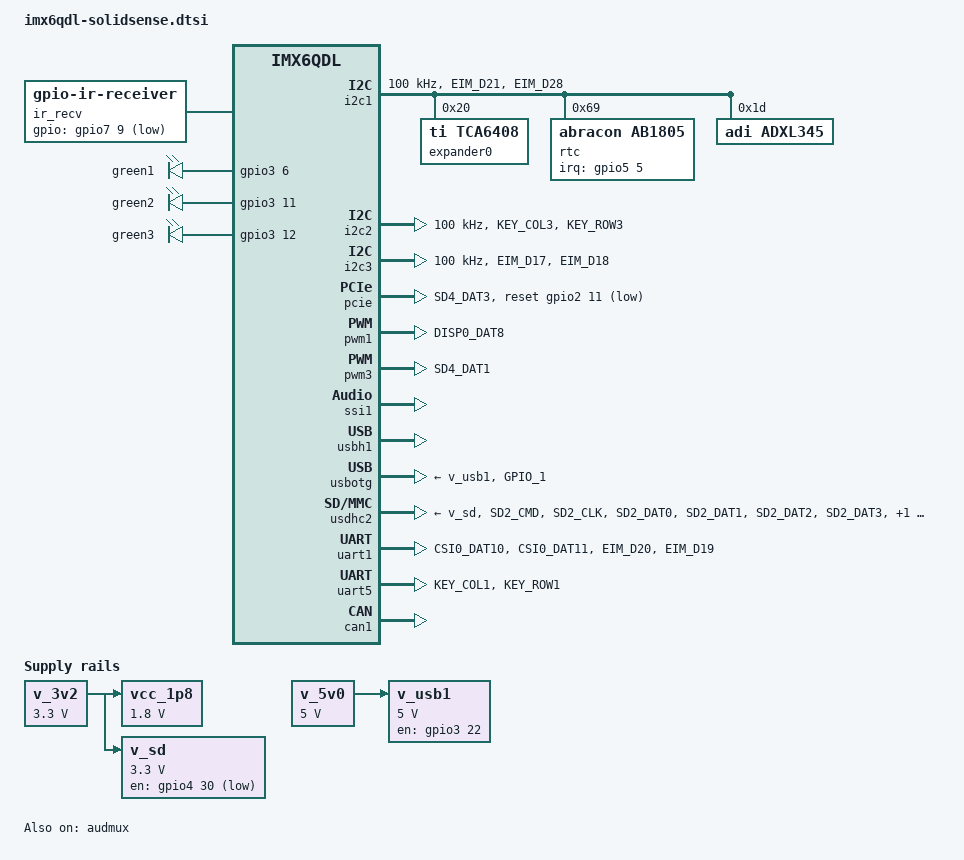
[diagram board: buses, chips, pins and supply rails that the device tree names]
/*
 * Copyright (C) 2015 Rabeeh Khoury <rabeeh@solid-run.com>
 *
 * This file is dual-licensed: you can use it either under the terms
 * of the GPL or the X11 license, at your option. Note that this dual
 * licensing only applies to this file, and not this project as a
 * whole.
 *
 *  a) This file is free software; you can redistribute it and/or
 *     modify it under the terms of the GNU General Public License
 *     version 2 as published by the Free Software Foundation.
 *
 *     This file is distributed in the hope that it will be useful,
 *     but WITHOUT ANY WARRANTY; without even the implied warranty of
 *     MERCHANTABILITY or FITNESS FOR A PARTICULAR PURPOSE.  See the
 *     GNU General Public License for more details.
 *
 * Or, alternatively,
 *
 *  b) Permission is hereby granted, free of charge, to any person
 *     obtaining a copy of this software and associated documentation
 *     files (the "Software"), to deal in the Software without
 *     restriction, including without limitation the rights to use,
 *     copy, modify, merge, publish, distribute, sublicense, and/or
 *     sell copies of the Software, and to permit persons to whom the
 *     Software is furnished to do so, subject to the following
 *     conditions:
 *
 *     The above copyright notice and this permission notice shall be
 *     included in all copies or substantial portions of the Software.
 *
 *     THE SOFTWARE IS PROVIDED "AS IS", WITHOUT WARRANTY OF ANY KIND,
 *     EXPRESS OR IMPLIED, INCLUDING BUT NOT LIMITED TO THE WARRANTIES
 *     OF MERCHANTABILITY, FITNESS FOR A PARTICULAR PURPOSE AND
 *     NONINFRINGEMENT. IN NO EVENT SHALL THE AUTHORS OR COPYRIGHT
 *     HOLDERS BE LIABLE FOR ANY CLAIM, DAMAGES OR OTHER LIABILITY,
 *     WHETHER IN AN ACTION OF CONTRACT, TORT OR OTHERWISE, ARISING
 *     FROM, OUT OF OR IN CONNECTION WITH THE SOFTWARE OR THE USE OR
 *     OTHER DEALINGS IN THE SOFTWARE.
 */

/ {
	/* Will be filled by the bootloader */
	memory@10000000 {
		device_type = "memory";
		reg = <0x10000000 0>;
	};

	chosen {
		stdout-path = &uart1;
	};

	ir_recv: ir-receiver {
		compatible = "gpio-ir-receiver";
		gpios = <&gpio7 9 GPIO_ACTIVE_LOW>;
		pinctrl-names = "default";
		pinctrl-0 = <&pinctrl_solidsense_gpio7_9>;
		linux,rc-map-name = "rc-rc6-mce";
	};

	v_3v2: regulator-v-3v2 {
		compatible = "regulator-fixed";
		regulator-always-on;
		regulator-max-microvolt = <3300000>;
		regulator-min-microvolt = <3300000>;
		regulator-name = "v_3v2";
	};

	v_5v0: regulator-v-5v0 {
		compatible = "regulator-fixed";
		regulator-always-on;
		regulator-max-microvolt = <5000000>;
		regulator-min-microvolt = <5000000>;
		regulator-name = "v_5v0";
	};

	vcc_1p8: regulator-vcc-1p8 {
		compatible = "regulator-fixed";
		regulator-always-on;
		regulator-max-microvolt = <1800000>;
		regulator-min-microvolt = <1800000>;
		regulator-name = "vcc_1p8";
		vin-supply = <&v_3v2>;
	};

	v_sd: regulator-v-sd {
		compatible = "regulator-fixed";
		gpio = <&gpio4 30 GPIO_ACTIVE_HIGH>;
		pinctrl-names = "default";
		pinctrl-0 = <&pinctrl_solidsense_vmmc>;
		regulator-boot-on;
		regulator-max-microvolt = <3300000>;
		regulator-min-microvolt = <3300000>;
		regulator-name = "v_sd_usdhc2";
		startup-delay-us = <1000>;
		vin-supply = <&v_3v2>;
	};

	v_usb1: regulator-v-usb1 {
		compatible = "regulator-fixed";
		enable-active-high;
		gpio = <&gpio3 22 GPIO_ACTIVE_HIGH>;
		pinctrl-names = "default";
		pinctrl-0 = <&pinctrl_solidsense_usbotg_vbus>;
		regulator-always-on;
		regulator-max-microvolt = <5000000>;
		regulator-min-microvolt = <5000000>;
		regulator-name = "v_usb1";
		vin-supply = <&v_5v0>;
	};

/*
	v_usb2: regulator-v-usb2 {
		/* USB hub port 1 */
/*
		compatible = "regulator-fixed";
		enable-active-high;
		gpio = <&gpio1 0 GPIO_ACTIVE_HIGH>;
		pinctrl-names = "default";
		pinctrl-0 = <&pinctrl_solidsense_usbh1_vbus>;
		regulator-always-on;
		regulator-max-microvolt = <5000000>;
		regulator-min-microvolt = <5000000>;
		regulator-name = "v_usb2";
		vin-supply = <&v_5v0>;
	};
*/

	leds {
		compatible = "gpio-leds";

		green1 {
			label = "green1";
			gpios = <&gpio3 6 GPIO_ACTIVE_HIGH>;
		};
		green2 {
			label = "green2";
			gpios = <&gpio3 11 GPIO_ACTIVE_HIGH>;
		};
		green3 {
			label = "green3";
			gpios = <&gpio3 12 GPIO_ACTIVE_HIGH>;
		};
	};
};

&audmux {
	status = "okay";
};

/*
&ecspi2 {
	pinctrl-names = "default";
	pinctrl-0 = <&pinctrl_solidsense_ecspi2>;
	cs-gpios = <&gpio2 26 0>;
	status = "okay";

	slb9670: slb9670@0 {
		compatible = "infineon,slb9670";
		reg = <0>; /* CE1 */
/*
		#address-cells = <1>;
		#size-cells = <0>;
		spi-max-frequency = <32000000>;
		status = "okay";
	};
};
*/

&i2c1 {
	clock-frequency = <100000>;
	pinctrl-names = "default";
	pinctrl-0 = <&pinctrl_solidsense_i2c1>;
	status = "okay";

	expander0: gpio-expander@20 {
		compatible = "ti,tca6408";
		gpio-controller;
		#gpio-cells = <2>;
		reg = <0x20>;

		pcie1_3v3_en {
			gpio-hog;
			gpios = <0 GPIO_ACTIVE_LOW>;
			output-low;
			line-name = "pcie1.0-enable";
		};

		pcie2_3v3_en {
			gpio-hog;
			gpios = <1 GPIO_ACTIVE_LOW>;
			output-low;
			line-name = "pcie2.0-enable";
		};

		pcie1_reset {
			gpio-hog;
			gpios = <2 GPIO_ACTIVE_LOW>;
			output-low;
			line-name = "pcie1.0-reset";
		};

		pcie2_reset {
			gpio-hog;
			gpios = <3 GPIO_ACTIVE_LOW>;
			output-low;
			line-name = "pcie2.0-reset";
		};
	};

	rtc@69 {
		compatible = "abracon,ab1805";
		reg = <0x69>;
		abracon,tc-diode = "schottky";
		abracon,tc-resistor = <3>;
		pinctrl-names = "default";
		pinctrl-0 = <&pinctrl_solidsense_gpio5_13>;
		interrupt-parent = <&gpio5>;
		interrupts = <5 13>;
	};

	adxl345@1d {
		compatible = "adi,adxl345";
		reg = <0x1d>;
/*
		interrupt-parent = <&irq_sec_vio>;
		interrupts = <0 15 0x04>;
*/
	};
};

&i2c2 {
	clock-frequency = <100000>;
	pinctrl-names = "default";
	pinctrl-0 = <&pinctrl_solidsense_i2c2>;
	status = "okay";
};

&i2c3 {
	clock-frequency = <100000>;
	pinctrl-names = "default";
	pinctrl-0 = <&pinctrl_solidsense_i2c3>;
	status = "okay";
};

&iomuxc {
	pinctrl-names = "default";
	pinctrl-0 = <&pinctrl_hog>;

	solidsense {
		pinctrl_hog: hoggrp {
		fsl,pins = <
				/*
				 * 36 pin headers GPIO description. The pins
				 * numbering as following -
				 *
				 * 	3.2v	5v	74	75
				 *	73	72	71	70
				 *	69	68	67	66
				 *
				 *	77	78	79	76
				 *	65	64	61	60
				 *	53	52	51	50
				 *	49	48	166	132
				 *	95	94	90	91
				 *	GND	54	24	204
				 *
				 * The GPIO numbers can be extracted using
				 * signal name from below.
				 * Example -
				 * MX6QDL_PAD_EIM_DA10__GPIO3_IO10 is
				 * GPIO(3,10) which is (3-1)*32+10 = gpio 74
				 *
				 * i.e. The mapping of GPIO(X,Y) to Linux gpio
				 * number is : gpio number = (X-1) * 32 + Y
				 */
				/* DI1_PIN15 */
				MX6QDL_PAD_EIM_DA10__GPIO3_IO10 0x400130b1
				/* DI1_PIN02 */
				MX6QDL_PAD_EIM_DA11__GPIO3_IO11 0x400130b1
				/* DISP1_DATA00 */
				MX6QDL_PAD_EIM_DA9__GPIO3_IO09 0x400130b1
				/* DISP1_DATA01 */
				MX6QDL_PAD_EIM_DA8__GPIO3_IO08 0x400130b1
				/* DISP1_DATA02 */
				MX6QDL_PAD_EIM_DA7__GPIO3_IO07 0x400130b1
				/* DISP1_DATA03 */
				MX6QDL_PAD_EIM_DA6__GPIO3_IO06 0x400130b1
				/* DISP1_DATA04 */
				MX6QDL_PAD_EIM_DA5__GPIO3_IO05 0x400130b1
				/* DISP1_DATA05 */
				MX6QDL_PAD_EIM_DA4__GPIO3_IO04 0x400130b1
				/* DISP1_DATA06 */
				MX6QDL_PAD_EIM_DA3__GPIO3_IO03 0x400130b1
				/* DISP1_DATA07 */
				MX6QDL_PAD_EIM_DA2__GPIO3_IO02 0x400130b1
				/* DI1_D0_CS */
				MX6QDL_PAD_EIM_DA13__GPIO3_IO13 0x400130b1
				/* DI1_D1_CS */
				MX6QDL_PAD_EIM_DA14__GPIO3_IO14 0x400130b1
				/* DI1_PIN01 */
				MX6QDL_PAD_EIM_DA15__GPIO3_IO15 0x400130b1
				/* DI1_PIN03 */
				MX6QDL_PAD_EIM_DA12__GPIO3_IO12 0x400130b1
				/* DISP1_DATA08 */
				MX6QDL_PAD_EIM_DA1__GPIO3_IO01 0x400130b1
				/* DISP1_DATA09 */
				MX6QDL_PAD_EIM_DA0__GPIO3_IO00 0x400130b1
				/* DISP1_DATA10 */
				MX6QDL_PAD_EIM_EB1__GPIO2_IO29 0x400130b1
				/* DISP1_DATA11 */
				MX6QDL_PAD_EIM_EB0__GPIO2_IO28 0x400130b1
				/* DISP1_DATA12 */
				MX6QDL_PAD_EIM_A17__GPIO2_IO21 0x400130b1
				/* DISP1_DATA13 */
				MX6QDL_PAD_EIM_A18__GPIO2_IO20 0x400130b1
				/* DISP1_DATA14 */
				MX6QDL_PAD_EIM_A19__GPIO2_IO19 0x400130b1
				/* DISP1_DATA15 */
				MX6QDL_PAD_EIM_A20__GPIO2_IO18 0x400130b1
				/* DISP1_DATA16 */
				MX6QDL_PAD_EIM_A21__GPIO2_IO17 0x400130b1
				/* DISP1_DATA17 */
				MX6QDL_PAD_EIM_A22__GPIO2_IO16 0x400130b1
				/* DISP1_DATA18 */
				MX6QDL_PAD_EIM_A23__GPIO6_IO06 0x400130b1
				/* DISP1_DATA19 */
				MX6QDL_PAD_EIM_A24__GPIO5_IO04 0x400130b1
				/* DISP1_DATA20 */
				/* MX6QDL_PAD_EIM_D31__GPIO3_IO31 0x400130b1 */
				/* DISP1_DATA21 */
				/* MX6QDL_PAD_EIM_D30__GPIO3_IO30 0x400130b1 */
				/* DISP1_DATA22 */
				MX6QDL_PAD_EIM_D26__GPIO3_IO26 0x400130b1
				/* DISP1_DATA23 */
				MX6QDL_PAD_EIM_D27__GPIO3_IO27 0x400130b1
				/* DI1_DISP_CLK */
				MX6QDL_PAD_EIM_A16__GPIO2_IO22 0x400130b1
				/* SPDIF_IN */
				MX6QDL_PAD_ENET_RX_ER__GPIO1_IO24 0x400130b1
				/* SPDIF_OUT */
				MX6QDL_PAD_GPIO_17__GPIO7_IO12 0x400130b1

				/* MikroBUS GPIO pin number 10 */
				MX6QDL_PAD_EIM_LBA__GPIO2_IO27 0x400130b1
			>;
		};

		pinctrl_solidsense_ecspi2: solidsense-ecspi2grp {
			fsl,pins = <
				MX6QDL_PAD_EIM_OE__ECSPI2_MISO	0x100b1
				MX6QDL_PAD_EIM_CS1__ECSPI2_MOSI	0x100b1
				MX6QDL_PAD_EIM_CS0__ECSPI2_SCLK	0x100b1
				MX6QDL_PAD_EIM_RW__GPIO2_IO26	0x000b1 /* CS */
			>;
		};

		pinctrl_solidsense_gpio5_13: solidsense-gpio5_13 {
			fsl,pins = <
				MX6QDL_PAD_DISP0_DAT19__GPIO5_IO13 0x80000000
			>;
		};

		pinctrl_solidsense_gpio7_9: solidsense-gpio7_9 {
			fsl,pins = <
				MX6QDL_PAD_SD4_CMD__GPIO7_IO09 0x80000000
			>;
		};

		pinctrl_solidsense_i2c1: solidsense-i2c1 {
			fsl,pins = <
				MX6QDL_PAD_EIM_D21__I2C1_SCL 0x4001b8b1
				MX6QDL_PAD_EIM_D28__I2C1_SDA 0x4001b8b1
			>;
		};

		pinctrl_solidsense_i2c2: solidsense-i2c2 {
			fsl,pins = <
				MX6QDL_PAD_KEY_COL3__I2C2_SCL 0x4001b8b1
				MX6QDL_PAD_KEY_ROW3__I2C2_SDA 0x4001b8b1
			>;
		};

		pinctrl_solidsense_i2c3: solidsense-i2c3 {
			fsl,pins = <
				MX6QDL_PAD_EIM_D17__I2C3_SCL 0x4001b8b1
				MX6QDL_PAD_EIM_D18__I2C3_SDA 0x4001b8b1
			>;
		};

		pinctrl_solidsense_mipi: solidsense_mipi {
			fsl,pins = <
				MX6QDL_PAD_SD4_DAT2__GPIO2_IO10 0x4001b8b1
				MX6QDL_PAD_KEY_COL4__GPIO4_IO14 0x4001b8b1
				MX6QDL_PAD_NANDF_CS2__CCM_CLKO2 0x130b0
			>;
		};

		pinctrl_solidsense_pcie_reset: solidsense-pcie-reset {
			fsl,pins = <
				MX6QDL_PAD_SD4_DAT3__GPIO2_IO11 0x1b0b1
			>;
		};

		pinctrl_solidsense_pwm1: pwm1grp {
			fsl,pins = <
				MX6QDL_PAD_DISP0_DAT8__PWM1_OUT 0x1b0b1
			>;
		};

		pinctrl_solidsense_pwm3: pwm3grp {
			fsl,pins = <
				MX6QDL_PAD_SD4_DAT1__PWM3_OUT 0x1b0b1
			>;
		};

		pinctrl_solidsense_usbh1_vbus: solidsense-usbh1-vbus {
			fsl,pins = <MX6QDL_PAD_GPIO_0__GPIO1_IO00 0x1b0b0>;
		};

		pinctrl_solidsense_usbotg_id: solidsense-usbotg-id {
			/*
			 * Similar to pinctrl_usbotg_2, but we want it
			 * pulled down for a fixed host connection.
			 */
			fsl,pins = <MX6QDL_PAD_GPIO_1__USB_OTG_ID 0x13059>;
		};

		pinctrl_solidsense_usbotg_vbus: solidsense-usbotg-vbus {
			fsl,pins = <MX6QDL_PAD_EIM_D22__GPIO3_IO22 0x1b0b0>;
		};

		pinctrl_solidsense_usdhc2: solidsense-usdhc2 {
			fsl,pins = <
				MX6QDL_PAD_SD2_CMD__SD2_CMD    0x17059
				MX6QDL_PAD_SD2_CLK__SD2_CLK    0x10059
				MX6QDL_PAD_SD2_DAT0__SD2_DATA0 0x17059
				MX6QDL_PAD_SD2_DAT1__SD2_DATA1 0x17059
				MX6QDL_PAD_SD2_DAT2__SD2_DATA2 0x17059
				MX6QDL_PAD_SD2_DAT3__SD2_DATA3 0x13059
			>;
		};

		pinctrl_solidsense_usdhc2_100mhz: solidsense-usdhc2-100mhz {
			fsl,pins = <
				MX6QDL_PAD_SD2_CMD__SD2_CMD    0x170b9
				MX6QDL_PAD_SD2_CLK__SD2_CLK    0x100b9
				MX6QDL_PAD_SD2_DAT0__SD2_DATA0 0x170b9
				MX6QDL_PAD_SD2_DAT1__SD2_DATA1 0x170b9
				MX6QDL_PAD_SD2_DAT2__SD2_DATA2 0x170b9
				MX6QDL_PAD_SD2_DAT3__SD2_DATA3 0x130b9
			>;
		};

		pinctrl_solidsense_usdhc2_200mhz: solidsense-usdhc2-200mhz {
			fsl,pins = <
				MX6QDL_PAD_SD2_CMD__SD2_CMD    0x170f9
				MX6QDL_PAD_SD2_CLK__SD2_CLK    0x100f9
				MX6QDL_PAD_SD2_DAT0__SD2_DATA0 0x170f9
				MX6QDL_PAD_SD2_DAT1__SD2_DATA1 0x170f9
				MX6QDL_PAD_SD2_DAT2__SD2_DATA2 0x170f9
				MX6QDL_PAD_SD2_DAT3__SD2_DATA3 0x130f9
			>;
		};

		pinctrl_solidsense_vmmc: solidsense-vmmc {
			fsl,pins = <
				MX6QDL_PAD_DISP0_DAT9__GPIO4_IO30 0x1b0b0
			>;
		};

		pinctrl_solidsense_jody_bt_en: solidsense-jody-bt-en {
			fsl,pins = <
				/* Jody W164 Bluetooth enable */
				MX6QDL_PAD_EIM_A22__GPIO2_IO16 0x1b0b1
			>;
		};

		pinctrl_solidsense_jody_wifi_en: solidsense-jody-wifi-en {
			fsl,pins = <
				/* Jody W164 WiFi enable */
				MX6QDL_PAD_EIM_A21__GPIO2_IO17 0x400130b1
			>;
		};

		pinctrl_solidsense_uart1: solidsense-uart1 {
			fsl,pins = <
				MX6QDL_PAD_CSI0_DAT10__UART1_TX_DATA 0x1b0b0
				MX6QDL_PAD_CSI0_DAT11__UART1_RX_DATA 0x1b0b0
			>;
		};

		pinctrl_solidsense_uart1_rtscts: solidsense-uart1-rtscts {
			fsl,pins = <
				MX6QDL_PAD_EIM_D20__UART1_RTS_B 0x1b0b0
				MX6QDL_PAD_EIM_D19__UART1_CTS_B 0x1b0b0
			>;
		};

		pinctrl_solidsense_uart5: solidsense-uart5 {
			fsl,pins = <
				MX6QDL_PAD_KEY_COL1__UART5_RX_DATA 0x1b0b0
				MX6QDL_PAD_KEY_ROW1__UART5_TX_DATA 0x1b0b0
			>;
		};

		pinctrl_solidsense_uart5_gpio: solidsense-uart5-gpio {
			fsl,pins = <
				MX6QDL_PAD_EIM_DA0__GPIO3_IO00 0x400130b1 /* Ublox mainboard SWDCLK */
				MX6QDL_PAD_EIM_DA1__GPIO3_IO01 0x400130b1 /* Ublox mainboard SDIO */
				MX6QDL_PAD_EIM_DA2__GPIO3_IO02 0x400130b1 /* Ublox UART_WAKE */
				MX6QDL_PAD_EIM_DA3__GPIO3_IO03 0x400130b1 /* Ublox RESET */
			>;
		};
	};
};

&pcie {
	pinctrl-names = "default";
	pinctrl-0 = <&pinctrl_solidsense_pcie_reset>;
	reset-gpio = <&gpio2 11 GPIO_ACTIVE_LOW>;
	reset-name = "pci-reset";
	status = "okay";
};

&pwm1 {
	pinctrl-names = "default";
	pinctrl-0 = <&pinctrl_solidsense_pwm1>;
	status = "okay";
};

&pwm3 {
	pinctrl-names = "default";
	pinctrl-0 = <&pinctrl_solidsense_pwm3>;
	status = "okay";
};

&ssi1 {
	status = "okay";
};

&usbh1 {
	disable-over-current;
	status = "okay";
};

&usbotg {
	disable-over-current;
	pinctrl-names = "default";
	pinctrl-0 = <&pinctrl_solidsense_usbotg_id>;
	vbus-supply = <&v_usb1>;
	status = "okay";
};

&usdhc2 {
	pinctrl-names = "default";
	pinctrl-0 = <
		&pinctrl_solidsense_usdhc2
	>;
	vmmc-supply = <&v_sd>;
	cd-gpios = <&gpio1 4 GPIO_ACTIVE_LOW>;
	status = "okay";
};

&uart1 {
	pinctrl-names = "default";
	pinctrl-0 = <&pinctrl_solidsense_uart1 &pinctrl_solidsense_uart1_rtscts>;
	uart-has-rtscts;
	status = "okay";
};

&uart5 {
	pinctrl-names = "default";
	pinctrl-0 = <&pinctrl_solidsense_uart5>;
	fsl,dte-mode;
	status = "okay";
};

&can1 {
	pinctrl-names = "default";
	pinctrl-0 = <&pinctrl_solidsense_flexcan1>;
	status = "okay";
};

&vcc_3v3 {
	vin-supply = <&v_3v2>;
};
